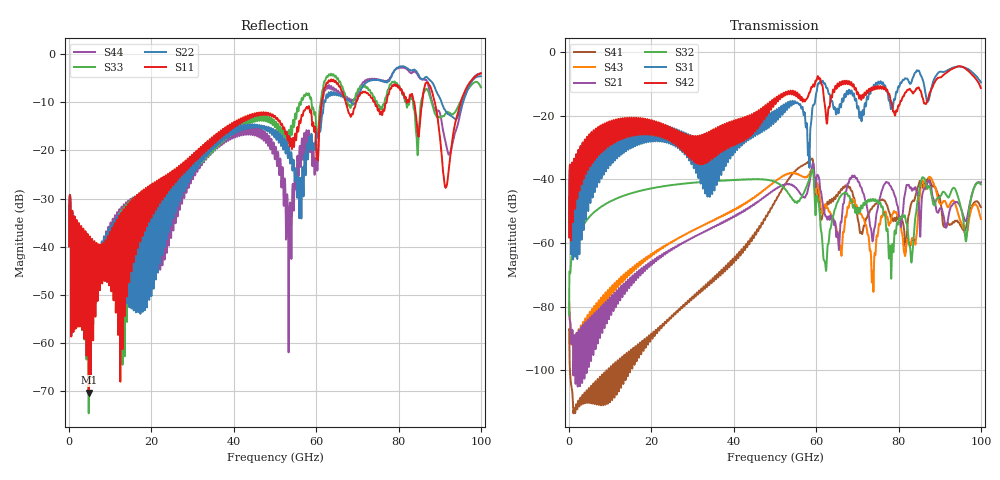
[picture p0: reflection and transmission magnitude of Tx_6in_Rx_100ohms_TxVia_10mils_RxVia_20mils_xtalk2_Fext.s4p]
! Info: Touchstone file created by Circ.  Input file=Tx_6in_Rx_100ohms_TxVia_10mils_RxVia_20mils.circ
# Hz S RI R 50
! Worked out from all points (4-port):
!   10000 points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, 10 MHz to 100 GHz, reference 50 ohm
!   strongest paths, dB at 10 MHz, 25.01 GHz, 50.01 GHz, 75.01 GHz, 100 GHz:
!     S42: -58.2, -24.0, -15.4, -10.7, -11.3
!     S31: -58.2, -23.8, -19.8, -9.4, -9.5
!     S32: -82.6, -41.8, -40.8, -46.7, -41.6
!     S21: -78.7, -62.1, -43.2, -48.7, -41.0
!     S43: -78.7, -59.7, -40.7, -57.0, -52.5
!     S41: -87.1, -82.7, -46.8, -47.1, -48.7
!   lowest |S11| = -70.4 dB at 4.78 GHz (marker M1), VSWR 1.00, Z = 50 - j0.0294 ohm
!   |S11| at or under -10 dB: start of sweep to 61.34 GHz; 74.25 GHz to 77.08 GHz (2.832 GHz wide, 3.74 % of centre); 88.83 GHz to 95.1 GHz (6.269 GHz wide, 6.82 % of centre)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
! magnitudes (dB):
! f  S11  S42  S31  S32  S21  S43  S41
! 10 MHz  -40.0  -58.2  -58.2  -82.6  -78.7  -78.7  -87.1
! 4.78 GHz  -70.4  -28.4  -28.9  -52.0  -98.1  -88.4  -105.8
! 58.71 GHz  -11.7  -11.3  -22.8  -38.4  -38.5  -37.3  -33.8
! 62.16 GHz  -6.9  -17.0  -9.9  -66.2  -51.2  -47.9  -48.6
! 73.8 GHz  -9.6  -11.5  -11.4  -46.2  -58.9  -70.5  -48.5
! 91.5 GHz  -27.7  -6.7  -6.0  -44.6  -55.2  -47.4  -54.2
! 100 GHz  -4.0  -11.3  -9.5  -41.6  -41.0  -52.5  -48.7
